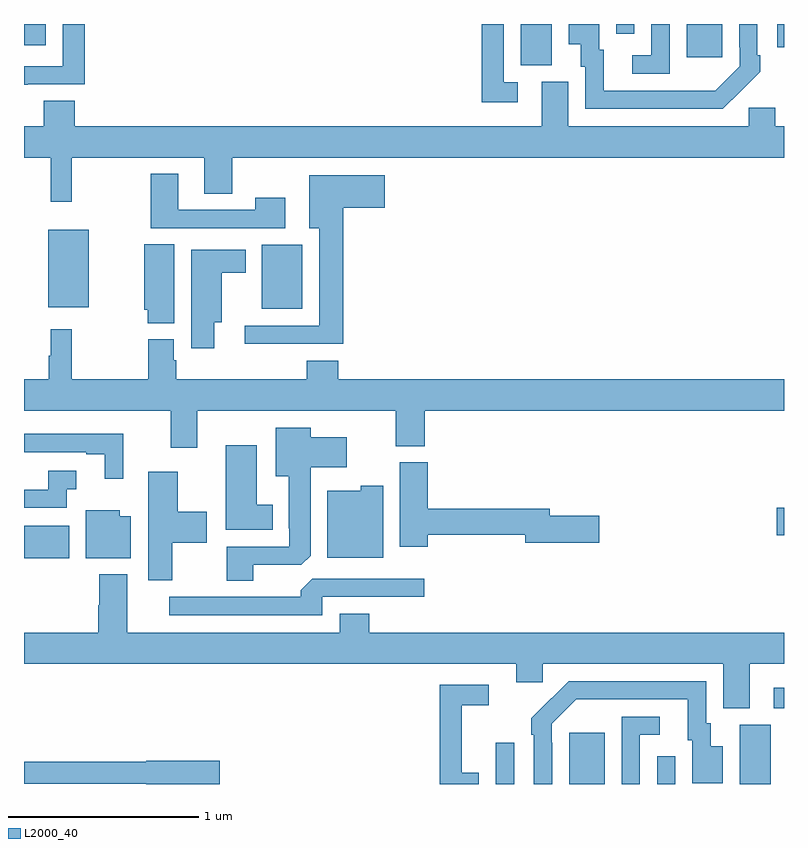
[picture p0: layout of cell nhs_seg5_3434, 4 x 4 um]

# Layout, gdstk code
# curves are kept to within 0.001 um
import gdstk
lib = gdstk.Library(unit=1e-6, precision=1e-09)
def R(c, l, rs):  # rectangles x0, y0, x1, y1
    for r in rs: c.add(gdstk.rectangle(r[:2], r[2:], *l))
def P(c, l, *ps):  # polygons
    for p in ps: c.add(gdstk.Polygon(p, *l))
L2000_40 = (2000, 40)

nhs_seg5_3434 = lib.new_cell('nhs_seg5_3434')
R(nhs_seg5_3434, L2000_40, [(315.483,850.799,315.579,851.017), (315.869,850.799,316.057,851.068), (316.332,850.799,316.428,850.945), (316.766,850.799,316.93,851.112), (316.947,851.199,317,851.305), (313,851.987,313.237,852.157), (316.962,852.107,317,852.254), (314.252,853.301,314.464,853.636), (313.127,853.307,313.342,853.717), (315.614,854.581,315.778,854.799), (316.487,854.625,316.675,854.799), (316.965,854.676,317,854.799), (313,854.688,313.114,854.799), (316.116,854.748,316.212,854.799)])
P(nhs_seg5_3434, L2000_40, [(313.019,854.481),(313.319,854.481),(313.319,854.799),(313.203,854.799),(313.203,854.577),(313,854.577),(313,854.479),(313.019,854.479)],
  [(316.398,854.799),(316.302,854.799),(316.302,854.634),(316.2,854.634),(316.2,854.538),(316.398,854.538)],
  [(315.598,854.493),(315.525,854.493),(315.525,854.799),(315.409,854.799),(315.409,854.388),(315.598,854.388)],
  [(316.769,854.443),(316.77,854.442),(316.875,854.547),(316.875,854.635),(316.86,854.635),(316.86,854.799),(316.764,854.799),(316.764,854.677),(316.767,854.677),(316.767,854.577),(316.639,854.449),(316.535,854.448),(316.051,854.448),(316.051,854.664),(316.027,854.664),(316.027,854.799),(315.866,854.799),(315.866,854.693),(315.929,854.693),(315.929,854.574),(315.954,854.574),(315.954,854.352),(316.678,854.352)],
  [(313.252,854.096),(313.949,854.096),(313.949,853.906),(314.097,853.906),(314.097,854.096),(317,854.096),(317,854.26),(316.954,854.26),(316.954,854.358),(316.815,854.358),(316.815,854.26),(315.865,854.26),(315.865,854.496),(315.725,854.496),(315.725,854.26),(313.268,854.26),(313.268,854.396),(313.103,854.396),(313.103,854.26),(313,854.26),(313,854.096),(313.142,854.096),(313.142,853.863),(313.252,853.863)],
  [(314.374,853.885),(314.218,853.885),(314.218,853.821),(313.813,853.821),(313.813,854.011),(313.666,854.011),(313.666,853.725),(314.374,853.725)],
  [(314.681,853.832),(314.899,853.832),(314.899,854.002),(314.501,854.002),(314.501,853.724),(314.555,853.724),(314.555,853.212),(314.163,853.212),(314.163,853.115),(314.681,853.115)],
  [(313.792,853.64),(313.634,853.64),(313.634,853.296),(313.651,853.296),(313.651,853.225),(313.792,853.225)],
  [(314.002,853.229),(314.041,853.229),(314.041,853.49),(314.167,853.49),(314.167,853.612),(313.88,853.612),(313.88,853.092),(314.002,853.092)],
  [(313.912,852.764),(314.957,852.764),(314.957,852.577),(315.11,852.577),(315.11,852.764),(317,852.764),(317,852.928),(314.654,852.928),(314.654,853.027),(314.489,853.027),(314.489,852.928),(313.802,852.928),(313.802,853.029),(313.789,853.029),(313.789,853.14),(313.654,853.14),(313.654,852.928),(313.252,852.928),(313.252,853.192),(313.142,853.192),(313.142,853.052),(313.131,853.052),(313.131,852.928),(313,852.928),(313,852.764),(313.772,852.764),(313.772,852.57),(313.912,852.57)],
  [(314.206,851.952),(314.46,851.952),(314.509,852.001),(314.509,852.467),(314.698,852.467),(314.698,852.625),(314.509,852.625),(314.509,852.673),(314.324,852.673),(314.324,852.419),(314.393,852.419),(314.393,852.145),(314.397,852.145),(314.397,852.048),(314.066,852.048),(314.066,851.869),(314.206,851.869)],
  [(313.522,852.642),(313,852.642),(313,852.546),(313.328,852.546),(313.328,852.534),(313.424,852.534),(313.424,852.405),(313.522,852.405)],
  [(314.308,852.268),(314.224,852.268),(314.224,852.583),(314.063,852.583),(314.063,852.137),(314.308,852.137)],
  [(315.125,852.112),(315.638,852.112),(315.638,852.07),(316.027,852.07),(316.027,852.212),(315.766,852.212),(315.766,852.248),(315.125,852.248),(315.125,852.492),(314.978,852.492),(314.978,852.048),(315.125,852.048)],
  [(313.224,852.35),(313.276,852.35),(313.276,852.447),(313.127,852.447),(313.127,852.348),(313,852.348),(313,852.252),(313.224,852.252)],
  [(313.78,852.068),(313.963,852.068),(313.963,852.231),(313.81,852.231),(313.81,852.442),(313.655,852.442),(313.655,851.871),(313.78,851.871)],
  [(314.89,852.37),(314.772,852.37),(314.772,852.343),(314.597,852.343),(314.597,851.99),(314.89,851.99)],
  [(313.561,852.208),(313.504,852.208),(313.504,852.241),(313.325,852.241),(313.325,851.987),(313.561,851.987)],
  [(316.819,851.432),(317,851.432),(317,851.596),(314.816,851.596),(314.816,851.695),(314.663,851.695),(314.663,851.596),(313.543,851.596),(313.543,851.902),(313.396,851.902),(313.396,851.741),(313.391,851.741),(313.391,851.596),(313,851.596),(313,851.432),(315.59,851.432),(315.59,851.334),(315.729,851.334),(315.729,851.432),(316.679,851.432),(316.679,851.197),(316.819,851.197)],
  [(314.571,851.784),(315.106,851.784),(315.106,851.88),(314.517,851.88),(314.456,851.818),(314.456,851.784),(313.764,851.784),(313.764,851.688),(314.571,851.688)],
  [(315.78,851.015),(315.777,851.015),(315.777,851.115),(315.906,851.244),(316.493,851.244),(316.493,851.028),(316.517,851.028),(316.517,850.803),(316.678,850.803),(316.678,850.999),(316.615,850.999),(316.615,851.118),(316.59,851.118),(316.59,851.34),(315.866,851.34),(315.669,851.145),(315.669,851.057),(315.684,851.057),(315.684,850.799),(315.78,850.799)],
  [(315.394,850.858),(315.305,850.858),(315.305,851.214),(315.445,851.214),(315.445,851.322),(315.187,851.322),(315.187,850.799),(315.394,850.799)],
  [(316.242,851.058),(316.345,851.058),(316.345,851.154),(316.146,851.154),(316.146,850.799),(316.242,850.799)],
  [(314.029,850.922),(313.644,850.922),(313.644,850.916),(313,850.916),(313,850.8),(313.644,850.8),(313.644,850.799),(314.029,850.799)])

lib.write_gds('nhs_seg5_3434.gds')
